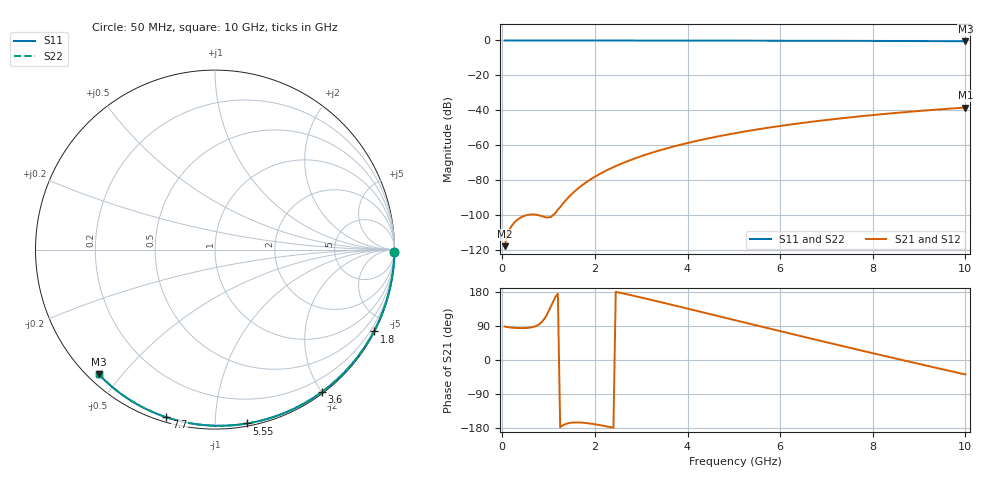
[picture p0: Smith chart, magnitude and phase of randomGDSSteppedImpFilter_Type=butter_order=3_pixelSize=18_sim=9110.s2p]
! freq	dB(S11)	phase(S11)	dB(S12)	phase(S12)
!  dB(S21)	phase(S21)	dB(S22)	phase(S22)
!S-par simulation data
#  GHz  S  DB  R 50
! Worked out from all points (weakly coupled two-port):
!   200 points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, 50 MHz to 10 GHz, reference 50 ohm
!   highest |S21| = -38.31 dB at 10 GHz (marker M1); lowest = -117.5 dB at 50 MHz (marker M2)
!   lowest |S11| = -0.4 dB at 10 GHz (marker M3), VSWR 38.73, Z = 1.54 - j21.8 ohm
!   |S11| at or under -10 dB: nowhere
!   |S22| runs from -0.4 to 0.0 dB; largest |S21 - S12| = 0
!   S11 on the Smith chart (normalised r, x): 50 MHz: open; 1.8 GHz: 0.04, -4.13; 3.6 GHz: 0.02, -2.00; 5.55 GHz: 0.02, -1.20; 7.7 GHz: 0.02, -0.75; 10 GHz: 0.03, -0.44
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0.05  -0.00 -0.8  -117.54 88.4  -117.54 88.4  -0.00 -0.8
0.9  -0.02 -13.7  -100.80 107.4  -100.80 107.4  -0.02 -13.7
1.75  -0.03 -26.5  -82.20 -165.6  -82.20 -165.6  -0.03 -26.5
1.8  -0.03 -27.2  -81.25 -166.2  -81.25 -166.2  -0.03 -27.2
1.85  -0.04 -28.0  -80.35 -166.9  -80.35 -166.9  -0.04 -28.0
1.9  -0.04 -28.7  -79.49 -167.7  -79.49 -167.7  -0.04 -28.7
2.05  -0.04 -30.9  -77.09 -170.6  -77.09 -170.6  -0.04 -30.9
2.25  -0.04 -33.9  -74.27 -175.1  -74.27 -175.1  -0.04 -33.9
2.45  -0.05 -36.8  -71.78 179.9  -71.78 179.9  -0.05 -36.8
2.65  -0.05 -39.7  -69.55 174.6  -69.55 174.6  -0.05 -39.7
3  -0.06 -44.7  -66.13 164.9  -66.13 164.9  -0.06 -44.7
3.4  -0.07 -50.4  -62.79 153.3  -62.79 153.3  -0.07 -50.4
3.6  -0.07 -53.2  -61.30 147.5  -61.30 147.5  -0.07 -53.2
4.3  -0.09 -62.9  -56.79 126.7  -56.79 126.7  -0.09 -62.9
5.05  -0.11 -73.0  -52.87 104.3  -52.87 104.3  -0.11 -73.0
5.55  -0.13 -79.5  -50.64 89.5  -50.64 89.5  -0.13 -79.5
6.1  -0.15 -86.5  -48.47 73.2  -48.47 73.2  -0.15 -86.5
6.7  -0.18 -94.0  -46.39 55.5  -46.39 55.5  -0.18 -94.0
7.7  -0.24 -106.2  -43.41 26.5  -43.41 26.5  -0.24 -106.2
8.35  -0.29 -113.9  -41.76 8.0  -41.76 8.0  -0.29 -113.9
9.15  -0.36 -123.2  -39.97 -14.6  -39.97 -14.6  -0.36 -123.2
10  -0.45 -132.9  -38.31 -38.3  -38.31 -38.3  -0.45 -132.9
